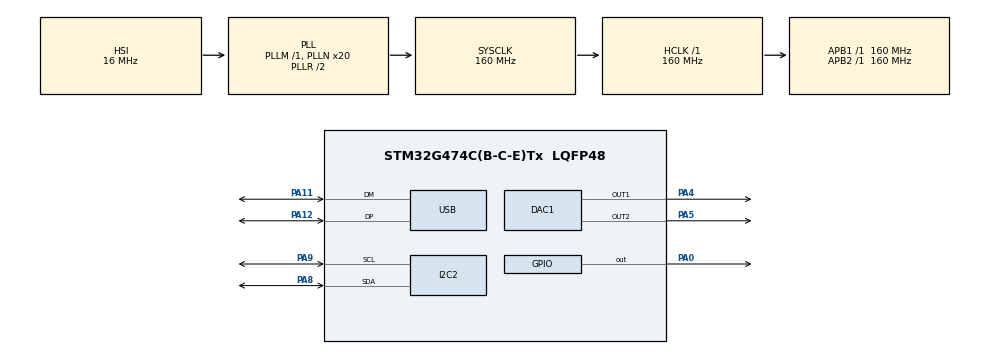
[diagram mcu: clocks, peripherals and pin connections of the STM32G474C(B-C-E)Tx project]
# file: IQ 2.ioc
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DAC1.DAC_Channel-DAC_OUT2=DAC_CHANNEL_2
DAC1.DAC_DMADoubleDataMode-DAC_OUT1=DISABLE
DAC1.DAC_OutputBuffer-DAC_OUT1=DAC_OUTPUTBUFFER_ENABLE
DAC1.DAC_OutputBuffer-DAC_OUT2=DAC_OUTPUTBUFFER_ENABLE
DAC1.DAC_SignedFormat-DAC_OUT1=DISABLE
DAC1.DAC_Trigger_OUT1-DAC_OUT1=DAC_TRIGGER_T6_TRGO
DAC1.DAC_Trigger_OUT2-DAC_OUT2=DAC_TRIGGER_T6_TRGO
Dma.DAC1_CH1.0.Direction=DMA_MEMORY_TO_PERIPH
Dma.DAC1_CH1.0.EventEnable=DISABLE
Dma.DAC1_CH1.0.Instance=DMA1_Channel1
Dma.DAC1_CH1.0.MemDataAlignment=DMA_MDATAALIGN_WORD
Dma.DAC1_CH1.0.MemInc=DMA_MINC_ENABLE
Dma.DAC1_CH1.0.Mode=DMA_CIRCULAR
Dma.DAC1_CH1.0.PeriphDataAlignment=DMA_PDATAALIGN_WORD
Dma.DAC1_CH1.0.PeriphInc=DMA_PINC_DISABLE
Dma.DAC1_CH1.0.Polarity=HAL_DMAMUX_REQ_GEN_RISING
Dma.DAC1_CH1.0.Priority=DMA_PRIORITY_LOW
Dma.DAC1_CH1.0.RequestNumber=1
Dma.DAC1_CH1.0.SignalID=NONE
Dma.DAC1_CH1.0.SyncEnable=DISABLE
Dma.DAC1_CH1.0.SyncPolarity=HAL_DMAMUX_SYNC_NO_EVENT
Dma.DAC1_CH1.0.SyncRequestNumber=1
Dma.DAC1_CH1.0.SyncSignalID=NONE
Dma.Request0=DAC1_CH1
I2C2.Timing=0x30D29DE4
Mcu.Family=STM32G4
Mcu.Name=STM32G474C(B-C-E)Tx
Mcu.Package=LQFP48
NVIC.DMA1_Channel1_IRQn=true\:0\:0\:false\:false\:true\:false\:true\:true
NVIC.PriorityGroup=NVIC_PRIORITYGROUP_4
NVIC.USB_LP_IRQn=true\:0\:0\:false\:false\:true\:false\:true\:true
PA0.Signal=GPIO_Output
PA11.Mode=Device
PA11.Signal=USB_DM
PA12.Mode=Device
PA12.Signal=USB_DP
PA4.Signal=COMP_DAC11_group
PA5.Signal=COMP_DAC12_group
PA8.Mode=I2C
PA8.Signal=I2C2_SDA
PA9.Mode=I2C
PA9.Signal=I2C2_SCL
ProjectManager.HeapSize=0x200
ProjectManager.StackSize=0x400
ProjectManager.TargetToolchain=STM32CubeIDE
RCC.ADC12Freq_Value=160000000
RCC.ADC345Freq_Value=160000000
RCC.AHBFreq_Value=160000000
RCC.APB1Freq_Value=160000000
RCC.APB1TimFreq_Value=160000000
RCC.APB2Freq_Value=160000000
RCC.APB2TimFreq_Value=160000000
RCC.CK48CLockSelection=RCC_USBCLKSOURCE_HSI48
RCC.CortexFreq_Value=160000000
RCC.EXTERNAL_CLOCK_VALUE=12288000
RCC.HCLKFreq_Value=160000000
RCC.HSE_VALUE=8000000
RCC.HSI48_VALUE=48000000
RCC.HSI_VALUE=16000000
RCC.LSE_VALUE=32768
RCC.PLLN=20
RCC.SYSCLKFreq_VALUE=160000000
RCC.SYSCLKSource=RCC_SYSCLKSOURCE_PLLCLK
RCC.USBFreq_Value=48000000
RCC.VCOOutputFreq_Value=320000000
SH.COMP_DAC11_group.0=DAC1_OUT1,DAC_OUT1
SH.COMP_DAC12_group.0=DAC1_OUT2,DAC_OUT2
TIM6.PeriodNoDither=1599
TIM6.TIM_MasterOutputTrigger=TIM_TRGO_UPDATE
USB_DEVICE.CLASS_NAME_FS=CDC
USB_DEVICE.VirtualMode=Cdc
USB_DEVICE.VirtualModeFS=Cdc_FS
VP_SYS_VS_DBSignals.Mode=DisableDeadBatterySignals
VP_TIM6_VS_ClockSourceINT.Mode=Enable_Timer
VP_USB_DEVICE_VS_USB_DEVICE_CDC_FS.Mode=CDC_FS
board=custom

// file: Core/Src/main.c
/* USER CODE BEGIN Header */
/**
 ******************************************************************************
 * @file           : CDC_Receive_FS
 * @brief          : Main program body
 ******************************************************************************
 * @attention
 *
 * Copyright (c) 2026 STMicroelectronics.
 * All rights reserved.
 *
 * This software is licensed under terms that can be found in the LICENSE file
 * in the root directory of this software component.
 * If no LICENSE file comes with this software, it is provided AS-IS.
 *
 ******************************************************************************
 */
/* USER CODE END Header */
#include "main.h"
#include "usb_device.h"

/* USER CODE BEGIN Includes */
#include <stdbool.h>
#include "usbd_cdc_if.h"

HAL_StatusTypeDef adrf6755_init(void);   // or put this in a header
void adrf6755_setFrequency(double MHz);
/* USER CODE END Includes */

DAC_HandleTypeDef hdac1;
DMA_HandleTypeDef hdma_dac1_ch1;

I2C_HandleTypeDef hi2c2;

TIM_HandleTypeDef htim6;

/* USER CODE BEGIN PV */
uint32_t dmaBuf[BUF_PAIRS];
volatile uint16_t wr = 0;
volatile uint8_t rx_stalled = 0;
extern USBD_HandleTypeDef hUsbDeviceFS;
/* USER CODE END PV */

void SystemClock_Config(void);
static void MX_GPIO_Init(void);
static void MX_DMA_Init(void);
static void MX_DAC1_Init(void);
static void MX_I2C2_Init(void);
static void MX_TIM6_Init(void);

/* USER CODE BEGIN 0 */

void blinkProgramLed(uint32_t delay_ms) {
	HAL_GPIO_WritePin(GPIOA, GPIO_PIN_0, GPIO_PIN_SET);
	HAL_Delay(delay_ms);
	HAL_GPIO_WritePin(GPIOA, GPIO_PIN_0, GPIO_PIN_RESET);
	HAL_Delay(delay_ms);
	HAL_GPIO_WritePin(GPIOA, GPIO_PIN_0, GPIO_PIN_SET);
}

uint16_t free_pairs(void) {
	uint16_t rd = BUF_PAIRS - __HAL_DMA_GET_COUNTER(hdac1.DMA_Handle1);
	return (rd - wr - 1) & (BUF_PAIRS - 1);
}

/* USER CODE END 0 */

int main(void)
{

  /* MCU Configuration--------------------------------------------------------*/

  /* Reset of all peripherals, Initializes the Flash interface and the Systick. */
  HAL_Init();

  /* Configure the system clock */
  SystemClock_Config();

  /* Initialize all configured peripherals */
  MX_GPIO_Init();
  MX_DMA_Init();
  MX_DAC1_Init();
  MX_I2C2_Init();
  MX_USB_Device_Init();
  MX_TIM6_Init();
  /* USER CODE BEGIN 2 */

	HAL_GPIO_WritePin(GPIOA, GPIO_PIN_0, GPIO_PIN_RESET);

	if (adrf6755_init() != HAL_OK) Error_Handler();
	adrf6755_setFrequency(500.0);

	HAL_Delay(1000);
	blinkProgramLed(200);

	if (HAL_DACEx_DualStart_DMA(&hdac1, DAC_CHANNEL_1, (uint32_t*)dmaBuf,
	                            BUF_PAIRS, DAC_ALIGN_8B_R) != HAL_OK) {
	    Error_Handler();
	}
	HAL_TIM_Base_Start(&htim6);

  /* USER CODE END 2 */

  /* Infinite loop */
	while (1) {

    /* USER CODE BEGIN 3 */
		if (rx_stalled && free_pairs() >= 32) {
			rx_stalled = 0;
			USBD_CDC_ReceivePacket(&hUsbDeviceFS);
		}
	}
  /* USER CODE END 3 */
}

void SystemClock_Config(void)
{
  RCC_OscInitTypeDef RCC_OscInitStruct = {0};
  RCC_ClkInitTypeDef RCC_ClkInitStruct = {0};

  /** Configure the main internal regulator output voltage
  */
  HAL_PWREx_ControlVoltageScaling(PWR_REGULATOR_VOLTAGE_SCALE1_BOOST);

  /** Initializes the RCC Oscillators according to the specified parameters
  * in the RCC_OscInitTypeDef structure.
  */
  RCC_OscInitStruct.OscillatorType = RCC_OSCILLATORTYPE_HSI|RCC_OSCILLATORTYPE_HSI48;
  RCC_OscInitStruct.HSIState = RCC_HSI_ON;
  RCC_OscInitStruct.HSICalibrationValue = RCC_HSICALIBRATION_DEFAULT;
  RCC_OscInitStruct.HSI48State = RCC_HSI48_ON;
  RCC_OscInitStruct.PLL.PLLState = RCC_PLL_ON;
  RCC_OscInitStruct.PLL.PLLSource = RCC_PLLSOURCE_HSI;
  RCC_OscInitStruct.PLL.PLLM = RCC_PLLM_DIV1;
  RCC_OscInitStruct.PLL.PLLN = 20;
  RCC_OscInitStruct.PLL.PLLP = RCC_PLLP_DIV2;
  RCC_OscInitStruct.PLL.PLLQ = RCC_PLLQ_DIV2;
  RCC_OscInitStruct.PLL.PLLR = RCC_PLLR_DIV2;
  if (HAL_RCC_OscConfig(&RCC_OscInitStruct) != HAL_OK)
  {
    Error_Handler();
  }

  /** Initializes the CPU, AHB and APB buses clocks
  */
  RCC_ClkInitStruct.ClockType = RCC_CLOCKTYPE_HCLK|RCC_CLOCKTYPE_SYSCLK
                              |RCC_CLOCKTYPE_PCLK1|RCC_CLOCKTYPE_PCLK2;
  RCC_ClkInitStruct.SYSCLKSource = RCC_SYSCLKSOURCE_PLLCLK;
  RCC_ClkInitStruct.AHBCLKDivider = RCC_SYSCLK_DIV1;
  RCC_ClkInitStruct.APB1CLKDivider = RCC_HCLK_DIV1;
  RCC_ClkInitStruct.APB2CLKDivider = RCC_HCLK_DIV1;

  if (HAL_RCC_ClockConfig(&RCC_ClkInitStruct, FLASH_LATENCY_4) != HAL_OK)
  {
    Error_Handler();
  }
}

static void MX_DAC1_Init(void)
{

  DAC_ChannelConfTypeDef sConfig = {0};

  /** DAC Initialization
  */
  hdac1.Instance = DAC1;
  if (HAL_DAC_Init(&hdac1) != HAL_OK)
  {
    Error_Handler();
  }

  /** DAC channel OUT1 config
  */
  sConfig.DAC_HighFrequency = DAC_HIGH_FREQUENCY_INTERFACE_MODE_AUTOMATIC;
  sConfig.DAC_DMADoubleDataMode = DISABLE;
  sConfig.DAC_SignedFormat = DISABLE;
  sConfig.DAC_SampleAndHold = DAC_SAMPLEANDHOLD_DISABLE;
  sConfig.DAC_Trigger = DAC_TRIGGER_T6_TRGO;
  sConfig.DAC_Trigger2 = DAC_TRIGGER_NONE;
  sConfig.DAC_OutputBuffer = DAC_OUTPUTBUFFER_ENABLE;
  sConfig.DAC_ConnectOnChipPeripheral = DAC_CHIPCONNECT_EXTERNAL;
  sConfig.DAC_UserTrimming = DAC_TRIMMING_FACTORY;
  if (HAL_DAC_ConfigChannel(&hdac1, &sConfig, DAC_CHANNEL_1) != HAL_OK)
  {
    Error_Handler();
  }

  /** DAC channel OUT2 config
  */
  if (HAL_DAC_ConfigChannel(&hdac1, &sConfig, DAC_CHANNEL_2) != HAL_OK)
  {
    Error_Handler();
  }

}

static void MX_I2C2_Init(void)
{

  hi2c2.Instance = I2C2;
  hi2c2.Init.Timing = 0x30D29DE4;
  hi2c2.Init.OwnAddress1 = 0;
  hi2c2.Init.AddressingMode = I2C_ADDRESSINGMODE_7BIT;
  hi2c2.Init.DualAddressMode = I2C_DUALADDRESS_DISABLE;
  hi2c2.Init.OwnAddress2 = 0;
  hi2c2.Init.OwnAddress2Masks = I2C_OA2_NOMASK;
  hi2c2.Init.GeneralCallMode = I2C_GENERALCALL_DISABLE;
  hi2c2.Init.NoStretchMode = I2C_NOSTRETCH_DISABLE;
  if (HAL_I2C_Init(&hi2c2) != HAL_OK)
  {
    Error_Handler();
  }

  /** Configure Analogue filter
  */
  if (HAL_I2CEx_ConfigAnalogFilter(&hi2c2, I2C_ANALOGFILTER_ENABLE) != HAL_OK)
  {
    Error_Handler();
  }

  /** Configure Digital filter
  */
  if (HAL_I2CEx_ConfigDigitalFilter(&hi2c2, 0) != HAL_OK)
  {
    Error_Handler();
  }

}

static void MX_TIM6_Init(void)
{

  TIM_MasterConfigTypeDef sMasterConfig = {0};

  htim6.Instance = TIM6;
  htim6.Init.Prescaler = 0;
  htim6.Init.CounterMode = TIM_COUNTERMODE_UP;
  htim6.Init.Period = 1599;
  htim6.Init.AutoReloadPreload = TIM_AUTORELOAD_PRELOAD_DISABLE;
  if (HAL_TIM_Base_Init(&htim6) != HAL_OK)
  {
    Error_Handler();
  }
  sMasterConfig.MasterOutputTrigger = TIM_TRGO_UPDATE;
  sMasterConfig.MasterSlaveMode = TIM_MASTERSLAVEMODE_DISABLE;
  if (HAL_TIMEx_MasterConfigSynchronization(&htim6, &sMasterConfig) != HAL_OK)
  {
    Error_Handler();
  }

}

static void MX_DMA_Init(void)
{

  /* DMA controller clock enable */
  __HAL_RCC_DMAMUX1_CLK_ENABLE();
  __HAL_RCC_DMA1_CLK_ENABLE();

  /* DMA interrupt init */
  /* DMA1_Channel1_IRQn interrupt configuration */
  HAL_NVIC_SetPriority(DMA1_Channel1_IRQn, 0, 0);
  HAL_NVIC_EnableIRQ(DMA1_Channel1_IRQn);

}

static void MX_GPIO_Init(void)
{
  GPIO_InitTypeDef GPIO_InitStruct = {0};

  /* GPIO Ports Clock Enable */
  __HAL_RCC_GPIOA_CLK_ENABLE();

  /*Configure GPIO pin Output Level */
  HAL_GPIO_WritePin(GPIOA, GPIO_PIN_0, GPIO_PIN_RESET);

  /*Configure GPIO pin : PA0 */
  GPIO_InitStruct.Pin = GPIO_PIN_0;
  GPIO_InitStruct.Mode = GPIO_MODE_OUTPUT_PP;
  GPIO_InitStruct.Pull = GPIO_NOPULL;
  GPIO_InitStruct.Speed = GPIO_SPEED_FREQ_LOW;
  HAL_GPIO_Init(GPIOA, &GPIO_InitStruct);

}

void Error_Handler(void)
{
	__disable_irq();
	while (1) {
	}
}
